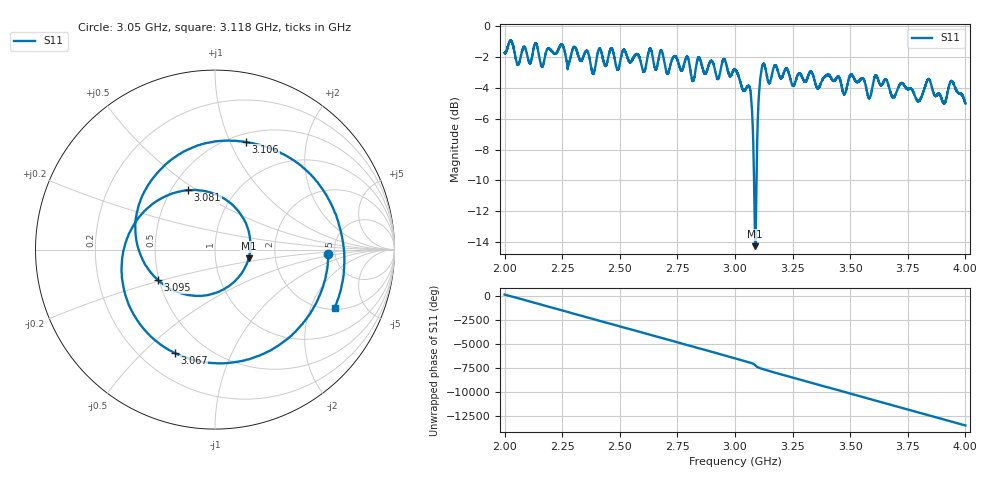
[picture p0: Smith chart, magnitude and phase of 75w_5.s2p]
!Agilent Technologies,E8362B,MY43021131,A.07.50.67
!Agilent E8362B: A.07.50.67
!Date: Thursday, March 14, 2024 14:25:28
!Correction: S11(Off)
!S21(Off)
!S12(Off)
!S22(Off)
!S2P File: Measurements: S11, S21, S12, S22:
# Hz S  RI  R 50
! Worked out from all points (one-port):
!   20001 points, 2 GHz to 4 GHz, reference 50 ohm
!   lowest |S11| = -14.3 dB at 3.088 GHz (marker M1), VSWR 1.48, Z = 72.6 - j7.41 ohm
!   |S11| at or under -10 dB: 3.082679 GHz to 3.093248 GHz (10.57 MHz wide, 0.342 % of centre)
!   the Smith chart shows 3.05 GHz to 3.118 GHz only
!   S11 on the Smith chart (normalised r, x): 3.05 GHz: 4.42, -0.36; 3.067 GHz: 0.34, -0.63; 3.081 GHz: 0.61, +0.46; 3.095 GHz: 0.49, -0.19; 3.106 GHz: 0.58, +1.15; 3.118 GHz: 2.08, -3.00
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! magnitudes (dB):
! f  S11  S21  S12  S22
! 2 GHz  -1.7  -  -  -
! 2.333 GHz  -2.2  -  -  -
! 2.667 GHz  -2.3  -  -  -
! 3 GHz  -2.8  -  -  -
! 3.05 GHz  -4.0  -  -  -
! 3.067 GHz  -4.2  -  -  -
! 3.081 GHz  -8.8  -  -  -
! 3.088 GHz  -14.3  -  -  -
! 3.095 GHz  -8.9  -  -  -
! 3.106 GHz  -4.1  -  -  -
! 3.118 GHz  -2.6  -  -  -
! 3.333 GHz  -3.0  -  -  -
! 3.474 GHz  -4.4  -  -  -
! 3.505 GHz  -3.1  -  -  -
! 3.582 GHz  -4.7  -  -  -
! 3.611 GHz  -3.2  -  -  -
! 3.667 GHz  -3.9  -  -  -
! 3.797 GHz  -4.9  -  -  -
! 3.841 GHz  -3.4  -  -  -
! 3.907 GHz  -5.0  -  -  -
! 3.941 GHz  -3.6  -  -  -
! 4 GHz  -5.0  -  -  -
